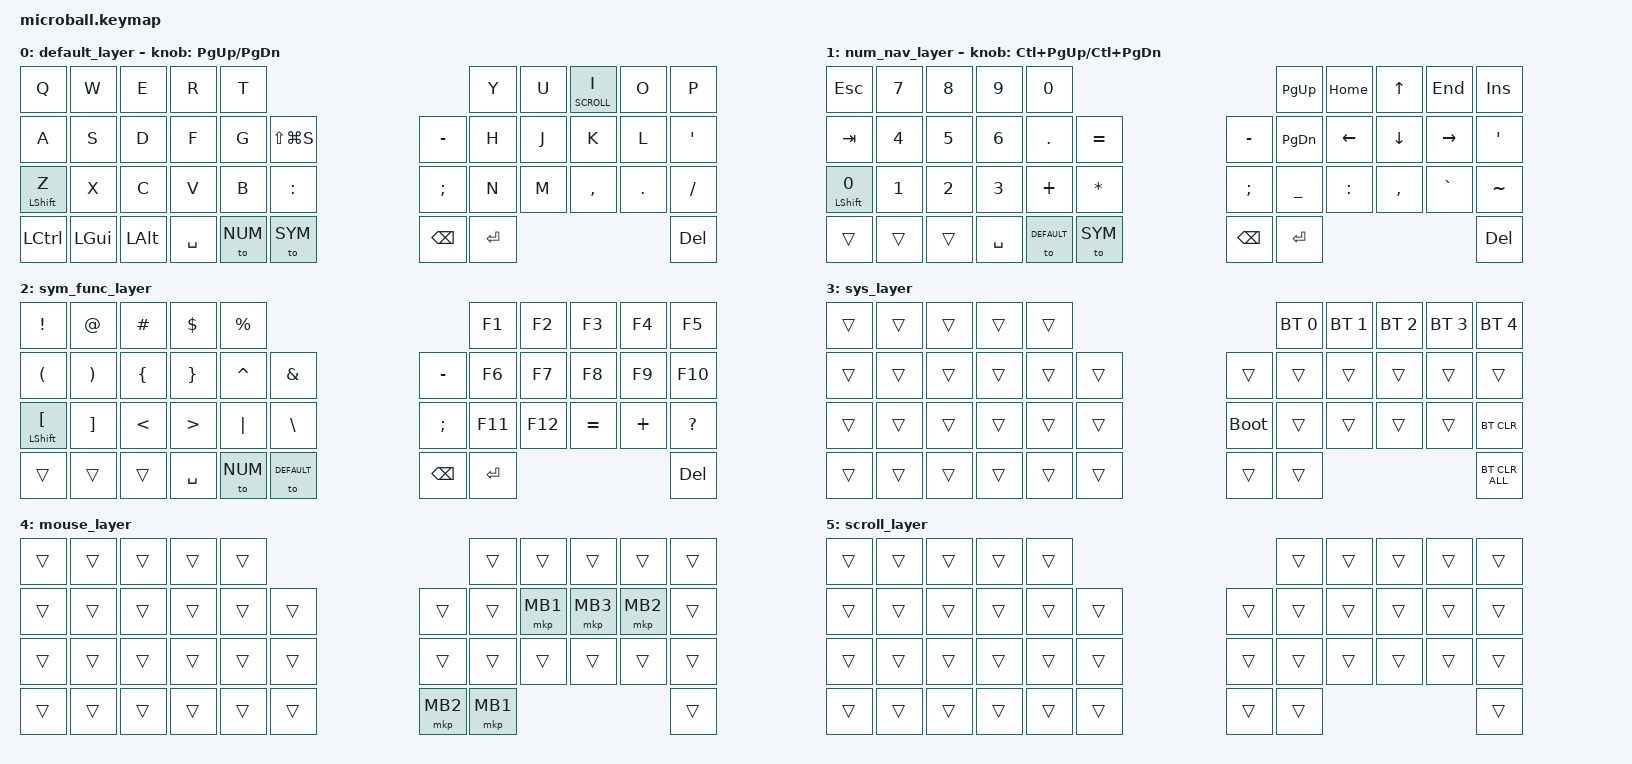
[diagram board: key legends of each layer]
#include <behaviors.dtsi>
#include <dt-bindings/zmk/bt.h>
#include <dt-bindings/zmk/keys.h>
#include <dt-bindings/zmk/pointing.h>

#define DEFAULT 0
#define NUM     1   /* 数字(左) + ナビ(右) */
#define SYM     2   /* 記号(左) + Fキー(右) */
#define SYS     3   /* BT切替・システム */
#define MOUSE   4   /* automouse-layer = <4> */
#define SCROLL  5   /* scroll-layers = <5> */

&mt {
    flavor = "balanced";
    tapping-term-ms = <200>;
    quick-tap-ms = <175>;
};

&lt {
    tapping-term-ms = <200>;
    quick-tap-ms = <175>;
};

/ {
    combos {
        compatible = "zmk,combos";

        /* ── IME切替 (変換/無変換をコンボで補う) ── */
        combo_henkan {
            bindings = <&kp INT_HENKAN>;
            key-positions = <37 38>;   /* Space + →NUM 同時押し */
            timeout-ms = <50>;
        };

        combo_muhenkan {
            bindings = <&kp INT_MUHENKAN>;
            key-positions = <37 39>;   /* Space + →SYM 同時押し */
            timeout-ms = <50>;
        };

        /* ── 便利コンボ ── */
        combo_esc {
            bindings = <&kp ESC>;
            key-positions = <0 1>;     /* Q + W */
            timeout-ms = <40>;
        };

        combo_tab {
            bindings = <&kp TAB>;
            key-positions = <11 12>;   /* S + D */
            timeout-ms = <40>;
        };

        combo_caps_word {
            bindings = <&caps_word>;
            key-positions = <14 17>;   /* G + H */
            timeout-ms = <50>;
        };

        /* ── SYSレイヤー: 右内側列の2キー同時押し (誤操作防止) ── */
        combo_sys {
            bindings = <&mo SYS>;
            key-positions = <16 28>;   /* 右内側列上 + 下 */
            timeout-ms = <50>;
        };
    };

    macros {
        to_layer_0: to_layer_0 {
            compatible = "zmk,behavior-macro-one-param";
            #binding-cells = <1>;
            bindings = <&to 0 &macro_param_1to1 &kp MACRO_PLACEHOLDER>;
            label = "TO_LAYER_0";
        };
    };

    keymap {
        compatible = "zmk,keymap";

        /*
         * ============================================================
         *  Layer 0: DEFAULT (QWERTY)
         * ============================================================
         *  左親指右2キー = タップ式レイヤートグル
         *  右内側列 = - と ; をそのまま維持
         *  Spaceを1つ左(旧:変換の位置)にずらして確保
         *  変換/無変換 = コンボ (Space+→NUM=変換, Space+→SYM=無変換)
         *
         * ┌─────┬─────┬─────┬─────┬─────┐               ┌─────┬─────┬─────┬─────┬─────┐
         * │  Q  │  W  │  E  │  R  │  T  │               │  Y  │  U  │I/SCR│  O  │  P  │
         * ├─────┼─────┼─────┼─────┼─────┼─────┐   ┌─────┼─────┼─────┼─────┼─────┼─────┤
         * │  A  │  S  │  D  │  F  │  G  │ SS  │   │  -  │  H  │  J  │  K  │  L  │  '  │
         * ├─────┼─────┼─────┼─────┼─────┼─────┤   ├─────┼─────┼─────┼─────┼─────┼─────┤
         * │ Z/⇧ │  X  │  C  │  V  │  B  │  :  │   │  ;  │  N  │  M  │  ,  │  .  │  /  │
         * ├─────┼─────┼─────┼─────┼─────┼─────┤   ├─────┼─────┼─────┼─────┼─────┼─────┤
         * │Ctrl │ GUI │ Alt │Space│→NUM │→SYM │   │ BS  │Enter│                  │ DEL │
         * └─────┴─────┴─────┴─────┴─────┴─────┘   └─────┴─────┘                └─────┘
         *
         *  コンボ: Q+W=ESC  S+D=TAB  G+H=CapsWord
         *          Space+→NUM=変換  Space+→SYM=無変換
         *          右内側列2キー同時 → SYS (BT切替)
         */
        default_layer {
            bindings = <
&kp Q             &kp W     &kp E     &kp R      &kp T                                                &kp Y          &kp U      &lt SCROLL I  &kp O    &kp P
&kp A             &kp S     &kp D     &kp F      &kp G   &kp LS(LG(S))                &kp MINUS       &kp H          &kp J      &kp K         &kp L    &kp SQT
&mt LEFT_SHIFT Z  &kp X     &kp C     &kp V      &kp B   &kp COLON                    &kp SEMI        &kp N          &kp M      &kp COMMA     &kp DOT  &kp SLASH
&kp LCTRL         &kp LGUI  &kp LALT  &kp SPACE  &to NUM &to SYM                      &kp BACKSPACE   &kp ENTER                                       &kp DEL
            >;

            sensor-bindings = <&inc_dec_kp PG_UP PAGE_DOWN>;
        };

        /*
         * ============================================================
         *  Layer 1: NUM + NAV
         * ============================================================
         *  左手: テンキー配列 + 演算子
         *  右手: Vim風ナビ (HJKL) + PgUp/PgDn/Home/End
         *
         * ┌─────┬─────┬─────┬─────┬─────┐               ┌─────┬─────┬─────┬─────┬─────┐
         * │ ESC │  7  │  8  │  9  │  0  │               │PgUp │Home │  ↑  │ End │ Ins │
         * ├─────┼─────┼─────┼─────┼─────┼─────┐   ┌─────┼─────┼─────┼─────┼─────┼─────┤
         * │ TAB │  4  │  5  │  6  │  .  │  =  │   │  -  │PgDn │  ←  │  ↓  │  →  │  '  │
         * ├─────┼─────┼─────┼─────┼─────┼─────┤   ├─────┼─────┼─────┼─────┼─────┼─────┤
         * │ 0/⇧ │  1  │  2  │  3  │  +  │  *  │   │  ;  │  _  │  :  │  ,  │  `  │  ~  │
         * ├─────┼─────┼─────┼─────┼─────┼─────┤   ├─────┼─────┼─────┼─────┼─────┼─────┤
         * │     │     │     │Space│→DEF │→SYM │   │ BS  │Enter│                  │ DEL │
         * └─────┴─────┴─────┴─────┴─────┴─────┘   └─────┴─────┘                └─────┘
         */
        num_nav_layer {
            bindings = <
&kp ESC                &kp N7  &kp N8  &kp N9     &kp N0                                        &kp PG_UP  &kp HOME  &kp UP     &kp END    &kp INS
&kp TAB                &kp N4  &kp N5  &kp N6     &kp DOT    &kp EQUAL            &kp MINUS     &kp PG_DN  &kp LEFT  &kp DOWN   &kp RIGHT  &kp SQT
&mt LEFT_SHIFT N0      &kp N1  &kp N2  &kp N3     &kp PLUS   &kp ASTRK            &kp SEMI      &kp UNDER  &kp COLON &kp COMMA  &kp GRAVE  &kp TILDE
&trans                 &trans  &trans  &kp SPACE   &to DEFAULT &to SYM             &kp BSPC      &kp ENTER                                  &kp DEL
            >;

            sensor-bindings = <&inc_dec_kp LC(PG_UP) LC(PG_DN)>;
        };

        /*
         * ============================================================
         *  Layer 2: SYM + FUNC
         * ============================================================
         *  左手: コーディング用記号 (括弧をホームロウに集約)
         *  右手: F1〜F12
         *
         * ┌─────┬─────┬─────┬─────┬─────┐               ┌─────┬─────┬─────┬─────┬─────┐
         * │  !  │  @  │  #  │  $  │  %  │               │ F1  │ F2  │ F3  │ F4  │ F5  │
         * ├─────┼─────┼─────┼─────┼─────┼─────┐   ┌─────┼─────┼─────┼─────┼─────┼─────┤
         * │  (  │  )  │  {  │  }  │  ^  │  &  │   │  -  │ F6  │ F7  │ F8  │ F9  │ F10 │
         * ├─────┼─────┼─────┼─────┼─────┼─────┤   ├─────┼─────┼─────┼─────┼─────┼─────┤
         * │ [/⇧ │  ]  │  <  │  >  │  |  │  \  │   │  ;  │ F11 │ F12 │  =  │  +  │  ?  │
         * ├─────┼─────┼─────┼─────┼─────┼─────┤   ├─────┼─────┼─────┼─────┼─────┼─────┤
         * │     │     │     │Space│→NUM │→DEF │   │ BS  │Enter│                  │ DEL │
         * └─────┴─────┴─────┴─────┴─────┴─────┘   └─────┴─────┘                └─────┘
         */
        sym_func_layer {
            bindings = <
&kp EXCL              &kp AT    &kp HASH  &kp DLLR   &kp PRCNT                                     &kp F1      &kp F2   &kp F3     &kp F4    &kp F5
&kp LPAR              &kp RPAR  &kp LBRC  &kp RBRC   &kp CARET  &kp AMPS         &kp MINUS         &kp F6      &kp F7   &kp F8     &kp F9    &kp F10
&mt LEFT_SHIFT LBKT   &kp RBKT  &kp LT    &kp GT     &kp PIPE   &kp BSLH         &kp SEMI          &kp F11     &kp F12  &kp EQUAL  &kp PLUS  &kp QMARK
&trans                &trans    &trans    &kp SPACE   &to NUM    &to DEFAULT      &kp BSPC          &kp ENTER                                 &kp DEL
            >;
        };

        /*
         * ============================================================
         *  Layer 3: SYS (BT切替・システム)
         * ============================================================
         *  アクセス: 右内側列の - と ; を同時押し (どのレイヤーからでも)
         *  離すと元のレイヤーに戻る (&mo)
         *
         * ┌─────┬─────┬─────┬─────┬─────┐               ┌─────┬─────┬─────┬─────┬─────┐
         * │     │     │     │     │     │               │ BT0 │ BT1 │ BT2 │ BT3 │ BT4 │
         * ├─────┼─────┼─────┼─────┼─────┼─────┐   ┌─────┼─────┼─────┼─────┼─────┼─────┤
         * │     │     │     │     │     │     │   │     │     │     │     │     │     │
         * ├─────┼─────┼─────┼─────┼─────┼─────┤   ├─────┼─────┼─────┼─────┼─────┼─────┤
         * │     │     │     │     │     │     │   │BTLDR│     │     │     │     │BTCLR│
         * ├─────┼─────┼─────┼─────┼─────┼─────┤   ├─────┼─────┼─────┼─────┼─────┼─────┤
         * │     │     │     │     │     │     │   │     │     │                  │CLALL│
         * └─────┴─────┴─────┴─────┴─────┴─────┘   └─────┴─────┘                └─────┘
         */
        sys_layer {
            bindings = <
&trans  &trans  &trans  &trans  &trans                             &bt BT_SEL 0  &bt BT_SEL 1  &bt BT_SEL 2  &bt BT_SEL 3  &bt BT_SEL 4
&trans  &trans  &trans  &trans  &trans  &trans      &trans         &trans        &trans        &trans        &trans        &trans
&trans  &trans  &trans  &trans  &trans  &trans      &bootloader    &trans        &trans        &trans        &trans        &bt BT_CLR
&trans  &trans  &trans  &trans  &trans  &trans      &trans         &trans                                                  &bt BT_CLR_ALL
            >;
        };

        /*
         * ============================================================
         *  Layer 4: MOUSE (オートマウスレイヤー)
         * ============================================================
         *  automouse-layer = <4> によりトラックボール操作で自動ON
         *  700ms 静止で自動OFF
         */
        mouse_layer {
            bindings = <
&trans  &trans  &trans  &trans  &trans                          &trans    &trans    &trans    &trans    &trans
&trans  &trans  &trans  &trans  &trans  &trans      &trans      &trans    &mkp MB1  &mkp MB3  &mkp MB2  &trans
&trans  &trans  &trans  &trans  &trans  &trans      &trans      &trans    &trans    &trans    &trans    &trans
&trans  &trans  &trans  &trans  &trans  &trans      &mkp MB2    &mkp MB1                               &trans
            >;
        };

        /*
         * ============================================================
         *  Layer 5: SCROLL
         * ============================================================
         *  scroll-layers = <5>: トラックボールがスクロールに変換
         *  I キー長押し (lt SCROLL I) で有効化
         */
        scroll_layer {
            bindings = <
&trans  &trans  &trans  &trans  &trans                      &trans  &trans  &trans  &trans  &trans
&trans  &trans  &trans  &trans  &trans  &trans      &trans  &trans  &trans  &trans  &trans  &trans
&trans  &trans  &trans  &trans  &trans  &trans      &trans  &trans  &trans  &trans  &trans  &trans
&trans  &trans  &trans  &trans  &trans  &trans      &trans  &trans                          &trans
            >;
        };
    };
};
